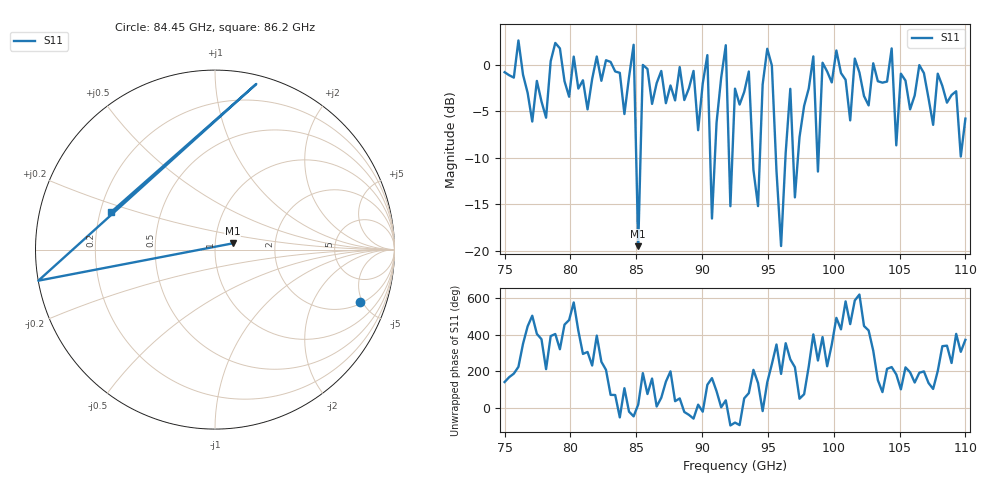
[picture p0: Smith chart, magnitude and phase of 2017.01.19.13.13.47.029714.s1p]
!Created with skrf (http://scikit-rf.org).
# GHz S RI R 50.0
!freq ReS11 ImS11
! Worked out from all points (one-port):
!   101 points, 75 GHz to 110 GHz, reference 50 ohm
!   lowest |S11| = -19.5 dB at 85.15 GHz (marker M1), VSWR 1.24, Z = 60.9 + j4.31 ohm
!   |S11| at or under -10 dB: 84.99643 GHz to 85.32065 GHz (324.2 MHz wide, 0.381 % of centre); 93.86 GHz to 94.39 GHz (532.3 MHz wide, 0.566 % of centre); 95.61 GHz to 96.33 GHz (723.9 MHz wide, 0.754 % of centre) (the widest 3 of 7)
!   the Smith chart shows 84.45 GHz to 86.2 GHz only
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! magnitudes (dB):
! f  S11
! 75 GHz  -0.8
! 79.55 GHz  -1.8
! 83.75 GHz  -0.9
! 84.8 GHz  2.2
! 85.15 GHz  -19.5
! 85.5 GHz  0.0
! 88.3 GHz  -0.2
! 89.7 GHz  -7.0
! 90.4 GHz  1.1
! 90.75 GHz  -16.5
! 91.8 GHz  2.1
! 92.15 GHz  -15.2
! 92.5 GHz  -2.6
! 93.55 GHz  -0.7
! 94.25 GHz  -15.2
! 94.95 GHz  1.7
! 96 GHz  -19.5
! 96.7 GHz  -2.6
! 97.05 GHz  -14.3
! 98.45 GHz  0.9
! 98.8 GHz  -11.5
! 99.15 GHz  0.2
! 101.2 GHz  -6.0
! 104.4 GHz  1.8
! 104.8 GHz  -8.7
! 105.1 GHz  -0.9
! 105.8 GHz  -4.8
! 110 GHz  -5.8
